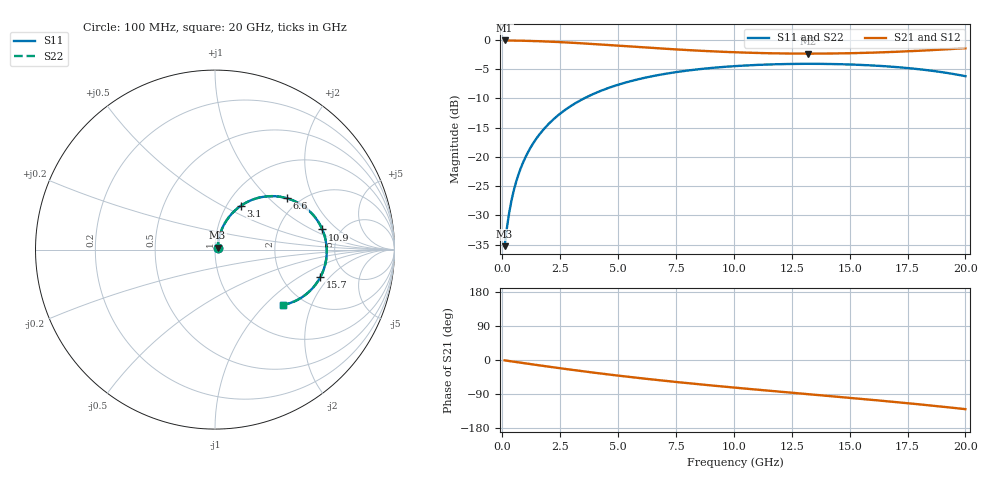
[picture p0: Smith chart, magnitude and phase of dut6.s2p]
! Touchstone file exported from HFSS 2026.1.0
!  File:  C:/ffzhzh/LocalFiles/Ansys_Project_Files/temp_train_TSV_RDL_6_1782960705_6388.aedt
!  Generated:  11:03:26 AM Jul  2, 2026
!  Design:  TSV_RDL
!  Project:  temp_train_TSV_RDL_6_1782960705_6388
! Variables:
!  h_bsmrdl = 3.75um
!  h_ox = 20um
!  h_rdl = 5um
!  h_sub = 64.53um
!  h_tmrdl = 4.29um
!  h_tsv = 64.53um
!  h_via = 3um
!  l_bsmrdl = 341.07um
!  l_sub = 2356.24um
!  l_tmrdl = 206.79um
!  m_sub = 200um
!  pitch = 50.8um
!  r_tsv = 5.25um
!  s_tmrdl = 10um
!  w_bsmrdl = 11.47um
!  w_sub = 500um
!  w_tmrdl = 23.82um
!  x_tsv_center1 = 218.7um
!  x_tsv_center2 = 571.24um
!  x_tsv_center3 = 801.85um
!  x_tsv_center4 = 1154.39um
!  x_tsv_center5 = 1385um
!  x_tsv_center6 = 1737.54um
# GHz S MA R 50.000000
! Terminal data exported
! Port[1] = TM_RDL1_1_T1
! Port[2] = TM_RDL5_1_T1
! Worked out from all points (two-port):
!   200 points, 100 MHz to 20 GHz, reference 50 ohm
!   highest |S21| = -0.12 dB at 100 MHz (marker M1); lowest = -2.4 dB at 13.2 GHz (marker M2)
!   |S21| within 3 dB of the highest: start of sweep to end of sweep
!   lowest |S11| = -35.3 dB at 100 MHz (marker M3), VSWR 1.04, Z = 51.4 + j1.03 ohm
!   |S11| at or under -10 dB: start of sweep to 3.542 GHz
!   |S22| runs from -35.3 to -4.1 dB; largest |S21 - S12| = 1.8e-13
!   S11 on the Smith chart (normalised r, x): 100 MHz: 1.03, +0.02; 3.1 GHz: 1.16, +0.61; 6.6 GHz: 1.73, +1.30; 10.9 GHz: 3.61, +1.29; 15.7 GHz: 3.27, -1.57; 20 GHz: 1.58, -1.28
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0.1  0.01726 35.6  0.9861 -0.9  0.9861 -0.9  0.01726 35.6
! Gamma 0 0 0 0
! Port Impedance 50 0 50 0
0.3  0.03356 61.7  0.9851 -2.7  0.9851 -2.7  0.03356 61.7
0.5  0.05199 68.8  0.9839 -4.5  0.9839 -4.5  0.05199 68.8
0.7  0.07081 71.3  0.9824 -6.3  0.9824 -6.3  0.07081 71.3
1  0.09915 72.0  0.9795 -8.9  0.9795 -8.9  0.09915 72.0
1.4  0.1365 70.7  0.9745 -12.4  0.9745 -12.4  0.1365 70.8
1.9  0.182 67.9  0.9664 -16.7  0.9664 -16.7  0.182 67.9
2.5  0.234 63.8  0.9545 -21.8  0.9545 -21.8  0.234 63.8
3.1  0.2827 59.5  0.9406 -26.7  0.9406 -26.7  0.2827 59.5
3.5  0.3132 56.6  0.9305 -29.9  0.9305 -29.9  0.3132 56.6
4.9  0.4067 46.6  0.8928 -40.5  0.8928 -40.5  0.4067 46.6
6.6  0.4936 35.3  0.8479 -52.2  0.8479 -52.2  0.4935 35.3
6.8  0.502 34.1  0.843 -53.5  0.843 -53.5  0.502 34.1
8.5  0.5604 23.9  0.8062 -64.0  0.8062 -64.0  0.5604 23.9
10.1  0.5963 14.9  0.781 -73.3  0.781 -73.3  0.5963 14.9
10.9  0.6082 10.6  0.7721 -77.7  0.7721 -77.7  0.6082 10.6
13.2  0.6229 -1.4  0.761 -90.1  0.761 -90.1  0.6229 -1.4
13.4  0.6229 -2.4  0.7611 -91.2  0.7611 -91.2  0.6228 -2.4
15.7  0.607 -14.5  0.773 -103.7  0.773 -103.7  0.607 -14.5
16.7  0.5908 -19.9  0.7847 -109.3  0.7847 -109.3  0.5908 -19.9
18.5  0.5451 -30.1  0.8145 -120.0  0.8145 -120.0  0.5451 -30.1
20  0.4883 -39.2  0.8467 -129.7  0.8467 -129.7  0.4883 -39.2
